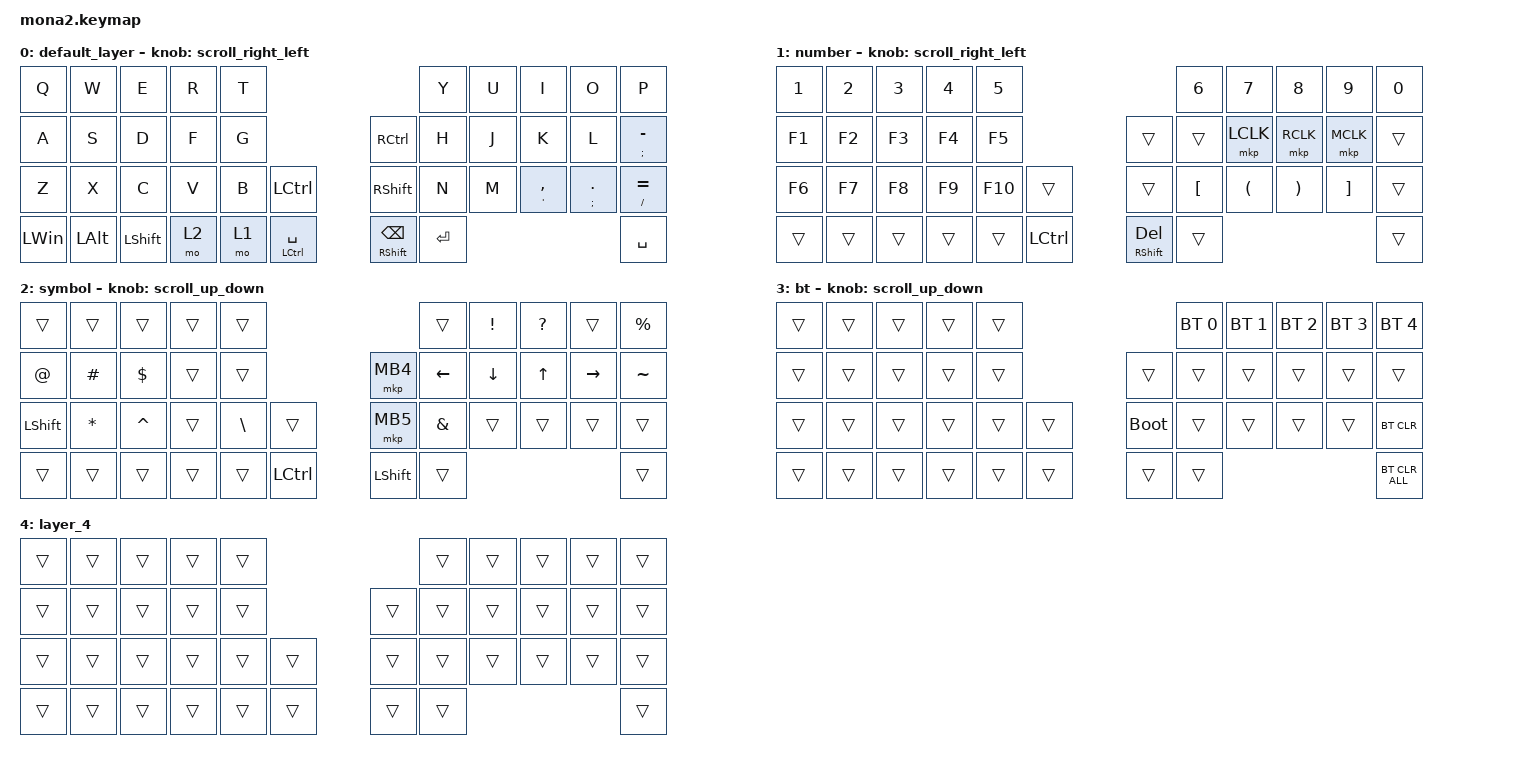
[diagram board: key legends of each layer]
#include <input/processors.dtsi>
#include <dt-bindings/zmk/input_transform.h>
#include <zephyr/dt-bindings/input/input-event-codes.h>
#include <behaviors.dtsi>
#include <dt-bindings/zmk/bt.h>
#include <dt-bindings/zmk/keys.h>
#include <dt-bindings/zmk/pointing.h>

#define ZMK_POINTING_DEFAULT_SCRL_VAL 100
#define MOUSE 5
#define SCROLL 6

&mt {
    flavor = "balanced";
    quick-tap-ms = <150>;
};

&lt {
    quick-tap-ms = <300>;
    flavor = "balanced";
};

/ {
    combos {
        compatible = "zmk,combos";

        layer4_ESC {
            bindings = <&lt 3 ESC>;
            key-positions = <0 1>;
        };

        tab {
            bindings = <&kp TAB>;
            key-positions = <1 2>;
        };

        semicolon {
            bindings = <&kp SEMI>;
            key-positions = <19 20>;
        };

        quote {
            bindings = <&kp SINGLE_QUOTE>;
            key-positions = <8 9>;
        };

        rctrl {
            bindings = <&kp LANG1>;
            key-positions = <17 18>;
        };

        lctrl {
            bindings = <&kp RCTRL>;
            key-positions = <13 12>;
        };

        lshift {
            bindings = <&kp LEFT_SHIFT>;
            key-positions = <24 23>;
        };

        rshift {
            bindings = <&kp LANG2>;
            key-positions = <29 30>;
        };
    };

    macros {
        to_layer_0: to_layer_0 {
            compatible = "zmk,behavior-macro-one-param";
            #binding-cells = <1>;
            bindings = <&to 0 &macro_param_1to1 &kp MACRO_PLACEHOLDER>;
            label = "TO_LAYER_0";
        };
    };

    behaviors {
        lt_to_layer_0: lt_to_layer_0 {
            compatible = "zmk,behavior-hold-tap";
            label = "LAYER_TAP_TO_0";
            bindings = <&mo>, <&to_layer_0>;

            #binding-cells = <2>;
            tapping-term-ms = <200>;
        };

        scroll_up_down: mouse_wheel_up_down {
            compatible = "zmk,behavior-sensor-rotate";
            #sensor-binding-cells = <0>;
            bindings = <&msc SCRL_DOWN>, <&msc SCRL_UP>;

            tap-ms = <20>;
        };

        scroll_right_left: mouse_wheel_right_left {
            compatible = "zmk,behavior-sensor-rotate";
            #sensor-binding-cells = <0>;
            bindings = <&msc SCRL_LEFT>, <&msc SCRL_RIGHT>;

            tap-ms = <20>;
        };
    };

    keymap {
        compatible = "zmk,keymap";

        default_layer {
            bindings = <
&kp Q     &kp W         &kp E           &kp R  &kp T                                                &kp Y      &kp U  &kp I                   &kp O            &kp P
&kp A     &kp S         &kp D           &kp F  &kp G                     &kp RCTRL                  &kp H      &kp J  &kp K                   &kp L            &mt SEMI MINUS
&kp Z     &kp X         &kp C           &kp V  &kp B  &kp LCTRL          &kp RIGHT_SHIFT            &kp N      &kp M  &mt SINGLE_QUOTE COMMA  &mt SEMI PERIOD  &mt SLASH EQUAL
&kp LWIN  &kp LEFT_ALT  &kp LEFT_SHIFT  &mo 2  &mo 1  &mt LCTRL SPACE    &mt RIGHT_SHIFT BACKSPACE  &kp ENTER                                                  &kp SPACE
            >;

            sensor-bindings = <&scroll_right_left>;
        };

        number {
            bindings = <
&kp NUMBER_1  &kp NUMBER_2  &kp NUMBER_3  &kp NUMBER_4  &kp NUMBER_5                                       &kp NUMBER_6      &kp NUMBER_7          &kp NUMBER_8           &kp NUMBER_9       &kp NUMBER_0
&kp F1        &kp F2        &kp F3        &kp F4        &kp F5                     &trans                  &trans            &mkp LCLK             &mkp RCLK              &mkp MCLK          &trans
&kp F6        &kp F7        &kp F8        &kp F9        &kp F10       &trans       &trans                  &kp LEFT_BRACKET  &kp LEFT_PARENTHESIS  &kp RIGHT_PARENTHESIS  &kp RIGHT_BRACKET  &trans
&trans        &trans        &trans        &trans        &trans        &kp LCTRL    &mt RIGHT_SHIFT DELETE  &trans                                                                            &trans
            >;

            sensor-bindings = <&scroll_right_left>;
        };

        symbol {
            bindings = <
&trans          &trans     &trans      &trans  &trans                                      &trans         &kp EXCL  &kp QUESTION  &trans     &kp PERCENT
&kp AT          &kp HASH   &kp DOLLAR  &trans  &trans                      &mkp MB4        &kp LEFT       &kp DOWN  &kp UP_ARROW  &kp RIGHT  &kp TILDE
&kp LEFT_SHIFT  &kp ASTRK  &kp CARET   &trans  &kp BACKSLASH  &trans       &mkp MB5        &kp AMPERSAND  &trans    &trans        &trans     &trans
&trans          &trans     &trans      &trans  &trans         &kp LCTRL    &kp LEFT_SHIFT  &trans                                            &trans
            >;

            sensor-bindings = <&scroll_up_down>;
        };

        bt {
            bindings = <
&trans  &trans  &trans  &trans  &trans                         &bt BT_SEL 0  &bt BT_SEL 1  &bt BT_SEL 2  &bt BT_SEL 3  &bt BT_SEL 4
&trans  &trans  &trans  &trans  &trans            &trans       &trans        &trans        &trans        &trans        &trans
&trans  &trans  &trans  &trans  &trans  &trans    &bootloader  &trans        &trans        &trans        &trans        &bt BT_CLR
&trans  &trans  &trans  &trans  &trans  &trans    &trans       &trans                                                  &bt BT_CLR_ALL
            >;

            sensor-bindings = <&scroll_up_down>;
        };

        layer_4 {
            bindings = <
&trans  &trans  &trans  &trans  &trans                    &trans  &trans  &trans  &trans  &trans
&trans  &trans  &trans  &trans  &trans            &trans  &trans  &trans  &trans  &trans  &trans
&trans  &trans  &trans  &trans  &trans  &trans    &trans  &trans  &trans  &trans  &trans  &trans
&trans  &trans  &trans  &trans  &trans  &trans    &trans  &trans                          &trans
            >;
        };
    };
};
